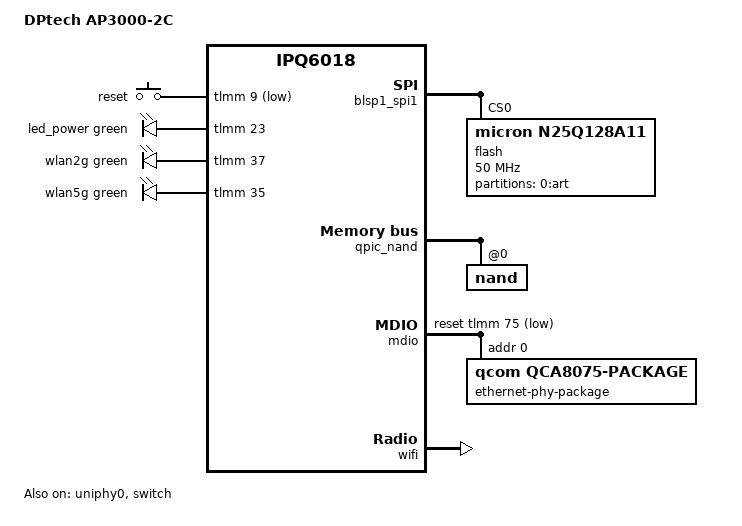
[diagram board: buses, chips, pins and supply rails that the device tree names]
// SPDX-License-Identifier: GPL-2.0-or-later OR MIT

/dts-v1/;

#include "ipq6018.dtsi"
#include "ipq6018-ess.dtsi"
#include "ipq6018-nss.dtsi"
#include "ipq6018-common.dtsi"

/ {
	model = "DPtech AP3000-2C";
	compatible = "dptech,ap3000-2c", "qcom,ipq6018";

	aliases {
		ethernet2 = &swport3;
		ethernet3 = &swport4;
		ethernet4 = &swport5;

		label-mac-device = &swport4;
		serial0 = &blsp1_uart3;

		led-boot = &led_power;
		led-failsafe = &led_power;
		led-running = &led_power;
		led-upgrade = &led_power;
	};

	chosen {
		stdout-path = "serial0:115200n8";
		bootargs-append = " root=/dev/ubiblock0_1";
	};

	keys {
		compatible = "gpio-keys";

		reset {
			label = "reset";
			linux,code = <KEY_RESTART>;
			gpios = <&tlmm 9 GPIO_ACTIVE_LOW>;
		};
	};

	leds {
		compatible = "gpio-leds";

		led_power: power {
			color = <LED_COLOR_ID_GREEN>;
			function = LED_FUNCTION_POWER;
			gpios = <&tlmm 23 GPIO_ACTIVE_HIGH>;
		};

		wlan2g {
			color = <LED_COLOR_ID_GREEN>;
			function = LED_FUNCTION_WLAN_2GHZ;
			gpios = <&tlmm 37 GPIO_ACTIVE_HIGH>;
			linux,default-trigger = "phy1radio";
		};

		wlan5g {
			color = <LED_COLOR_ID_GREEN>;
			function = LED_FUNCTION_WLAN_5GHZ;
			gpios = <&tlmm 35 GPIO_ACTIVE_HIGH>;
			linux,default-trigger = "phy0radio";
		};
	};
};

&blsp1_spi1 {
	status = "okay";

	flash@0 {
		/*
		 * U-boot looks for "n25q128a11" node,
		 * if we don't have it, it will spit out the following warning:
		 * "ipq: fdt fixup unable to find compatible node".
		 */
		linux,modalias = "m25p80", "n25q128a11";
		compatible = "micron,n25q128a11", "jedec,spi-nor";
		spi-max-frequency = <50000000>;
		reg = <0>;

		partitions {
			compatible = "qcom,smem-part";
			qcom,smem-flash-id = <0>;

			partition-0-art {
				label = "0:art";
				read-only;

				nvmem-layout {
					compatible = "fixed-layout";
					#address-cells = <1>;
					#size-cells = <1>;

					macaddr_wan: macaddr@0 {
						reg = <0x0 0x6>;
					};

					macaddr_lan: macaddr@6 {
						reg = <0x6 0x6>;
					};
				};
			};
		};
	};
};

&qpic_nand {
	status = "okay";

	nand@0 {
		reg = <0>;

		nand-ecc-strength = <4>;
		nand-ecc-step-size = <512>;
		nand-bus-width = <8>;

		partitions {
			compatible = "qcom,smem-part";
			qcom,smem-flash-id = <1>;
		};
	};
};

&mdio {
	status = "okay";

	pinctrl-0 = <&mdio_pins>;
	pinctrl-names = "default";
	reset-gpios = <&tlmm 75 GPIO_ACTIVE_LOW>;

	ethernet-phy-package@0 {
		compatible = "qcom,qca8075-package";
		qcom,package-mode = "psgmii";
		#address-cells = <1>;
		#size-cells = <0>;
		reg = <0>;

		qca8075_2: ethernet-phy@2 {
			compatible = "ethernet-phy-ieee802.3-c22";
			reg = <2>;
		};

		qca8075_3: ethernet-phy@3 {
			compatible = "ethernet-phy-ieee802.3-c22";
			reg = <3>;
		};

		qca8075_4: ethernet-phy@4 {
			compatible = "ethernet-phy-ieee802.3-c22";
			reg = <4>;
		};
	};
};

&uniphy0 {
	status = "okay";
};

&switch {
	status = "okay";

	ports {
		#address-cells = <1>;
		#size-cells = <0>;

		port@0 {
			reg = <0>;
			ethernet = <&edma>;
			phy-mode = "internal";

			fixed-link {
				speed = <1000>;
				full-duplex;
			};
		};

		swport3: port@3 {
			reg = <3>;
			label = "wan";
			phy-handle = <&qca8075_2>;
			phy-mode = "psgmii";
			pcs-handle = <&uniphy0 2>;
			nvmem-cells = <&macaddr_wan>;
			nvmem-cell-names = "mac-address";
		};

		swport4: port@4 {
			reg = <4>;
			label = "lan1";
			phy-handle = <&qca8075_3>;
			phy-mode = "psgmii";
			pcs-handle = <&uniphy0 3>;
			nvmem-cells = <&macaddr_lan>;
			nvmem-cell-names = "mac-address";
		};

		swport5: port@5 {
			reg = <5>;
			label = "lan2";
			phy-handle = <&qca8075_4>;
			phy-mode = "psgmii";
			pcs-handle = <&uniphy0 4>;
			nvmem-cells = <&macaddr_lan>;
			nvmem-cell-names = "mac-address";
		};
	};
};

&edma {
	status = "okay";
};

&wifi {
	status = "okay";
	qcom,ath11k-fw-memory-mode = <1>;
	qcom,ath11k-calibration-variant = "DPtech-AP3000-2C";
};
